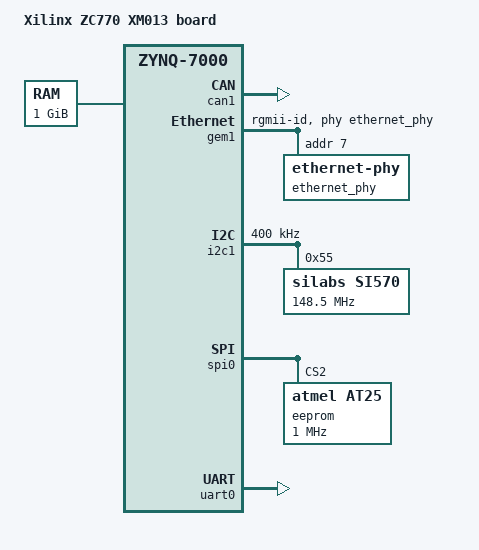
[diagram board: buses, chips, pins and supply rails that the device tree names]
// SPDX-License-Identifier: GPL-2.0+
/*
 * Xilinx ZC770 XM013 board DTS
 *
 * Copyright (C) 2013 Xilinx, Inc.
 */
/dts-v1/;
#include "zynq-7000.dtsi"

/ {
	model = "Xilinx ZC770 XM013 board";
	compatible = "xlnx,zynq-zc770-xm013", "xlnx,zynq-7000";

	aliases {
		ethernet0 = &gem1;
		i2c0 = &i2c1;
		serial0 = &uart0;
		spi1 = &spi0;
	};

	chosen {
		bootargs = "";
		stdout-path = "serial0:115200n8";
	};

	memory@0 {
		device_type = "memory";
		reg = <0x0 0x40000000>;
	};
};

&can1 {
	status = "okay";
};

&gem1 {
	status = "okay";
	phy-mode = "rgmii-id";
	phy-handle = <&ethernet_phy>;

	ethernet_phy: ethernet-phy@7 {
		reg = <7>;
		device_type = "ethernet-phy";
	};
};

&i2c1 {
	status = "okay";
	clock-frequency = <400000>;

	si570: clock-generator@55 {
		#clock-cells = <0>;
		compatible = "silabs,si570";
		temperature-stability = <50>;
		reg = <0x55>;
		factory-fout = <156250000>;
		clock-frequency = <148500000>;
	};
};

&spi0 {
	status = "okay";
	num-cs = <4>;
	is-decoded-cs = <0>;
	eeprom: eeprom@2 {
		compatible = "atmel,at25";
		reg = <2>;
		spi-max-frequency = <1000000>;
		size = <8192>;
		address-width = <16>;
		pagesize = <32>;
	};
};

&uart0 {
	status = "okay";
};
